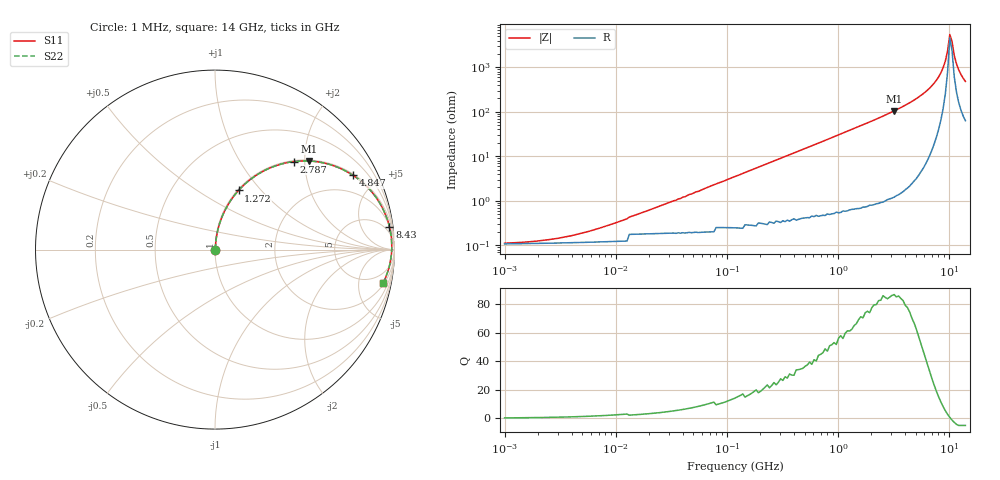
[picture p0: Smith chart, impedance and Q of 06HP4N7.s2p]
# MHz S MA R 50
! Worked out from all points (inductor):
!   208 points, 1 MHz to 14 GHz, reference 50 ohm
!   read as one part in series: L = 4.7 nH near 18.27 MHz
!   highest Q = 85.9 at 3.2 GHz (marker M1), where L = 5.2 nH
!   self-resonance near 10.14 GHz
!   S11 on the Smith chart (normalised r, x): 1 MHz: 1.00, +0.00; 1.272 GHz: 1.01, +0.76; 2.787 GHz: 1.02, +1.78; 4.847 GHz: 1.06, +3.68; 8.43 GHz: 2, +15; 14 GHz: 2.25, -9.58
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1  0.001175 14.5  0.999 -0.0  0.999 -0.0  0.001175 14.5
2.294  0.001385 29.2  0.999 -0.0  0.999 -0.0  0.001385 29.2
5.024  0.001978 48.4  0.999 -0.1  0.999 -0.1  0.001978 48.4
25.239  0.007631 76.7  0.998 -0.4  0.998 -0.4  0.007631 76.7
121.082  0.036 83.9  0.997 -2.0  0.997 -2.0  0.036 83.9
580.879  0.169 78.8  0.981 -9.7  0.981 -9.7  0.169 78.8
1272.297  0.355 68.3  0.929 -20.8  0.929 -20.8  0.355 68.3
1840.032  0.487 60.1  0.867 -29.1  0.867 -29.1  0.487 60.1
2786.711  0.66 48.0  0.743 -41.3  0.743 -41.3  0.66 48.0
2918.243  0.68 46.5  0.725 -42.8  0.725 -42.8  0.68 46.5
3200.226  0.719 43.4  0.687 -46.0  0.687 -46.0  0.719 43.4
4846.711  0.873 28.3  0.475 -60.8  0.475 -60.8  0.873 28.3
6693.517  0.952 16.1  0.278 -72.1  0.278 -72.1  0.952 16.1
8429.511  0.98 7.4  0.13 -77.6  0.13 -77.6  0.98 7.4
9244.035  0.985 4.0  0.071 -75.4  0.071 -75.4  0.985 4.0
9680.353  0.985 2.3  0.042 -68.3  0.042 -68.3  0.985 2.3
10137.26  0.985 0.6  0.018 -32.1  0.018 -32.1  0.985 0.6
10615.74  0.984 -1.2  0.026 50.1  0.026 50.1  0.984 -1.2
11116.81  0.981 -2.9  0.053 67.8  0.053 67.8  0.981 -2.9
11641.52  0.978 -4.6  0.082 72.1  0.082 72.1  0.978 -4.6
12766.41  0.968 -7.9  0.14 73.0  0.14 73.0  0.968 -7.9
14000  0.955 -11.3  0.198 71.2  0.198 71.2  0.955 -11.3
